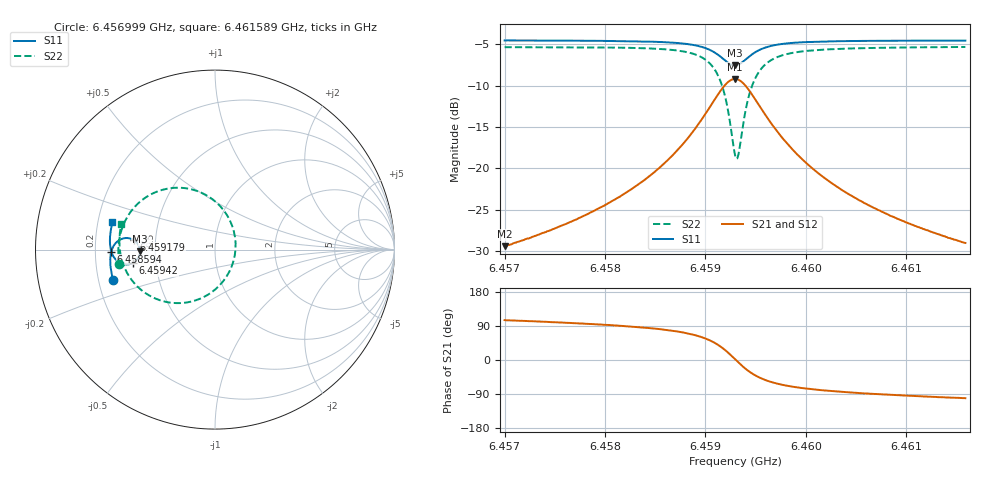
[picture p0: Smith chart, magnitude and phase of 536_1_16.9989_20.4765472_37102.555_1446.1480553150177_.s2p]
#  HZ  S  RI  R  50.00
! Rohde & Schwarz Vector Network Analyzer
! Rohde-Schwarz,ZNB20-2Port,1311601062101988,3.16
! Created: UTC 3/20/2024, 11:16:06 PM
! freq[Hz]  re:S11  im:S11  re:S21  im:S21  re:S12  im:S12  re:S22  im:S22
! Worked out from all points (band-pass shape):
!   401 points, 6.456999 GHz to 6.461589 GHz, reference 50 ohm
!   highest |S21| = -9.20 dB at 6.459294 GHz (marker M1); lowest = -29.4 dB at 6.456999 GHz (marker M2)
!   |S21| within 3 dB of the highest: 6.459065 GHz to 6.459524 GHz (459 kHz wide, 0.00711 % of centre)
!   lowest |S11| = -7.6 dB at 6.459294 GHz (marker M3), VSWR 2.44, Z = 20.5 - j0.464 ohm
!   |S11| at or under -10 dB: nowhere
!   |S22| runs from -18.8 to -5.3 dB; largest |S21 - S12| = 0.014
!   S11 on the Smith chart (normalised r, x): 6.456999 GHz: 0.26, -0.14; 6.458594 GHz: 0.27, -0.01; 6.459179 GHz: 0.37, +0.05; 6.45942 GHz: 0.37, -0.07; 6.461589 GHz: 0.26, +0.12
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6.4569989e9  -0.5671 -0.1706  -0.00887 0.0326  -0.00704 0.0326  -0.5331 -0.0829
6.4577678e9  -0.581 -0.1033  -0.00546 0.0506  -0.00288 0.0499  -0.5382 0.00716
6.4581694e9  -0.5838 -0.0631  -9.92e-05 0.0687  0.00328 0.0673  -0.5307 0.0704
6.4585366e9  -0.5797 -0.0194  0.0144 0.0989  0.0185 0.0962  -0.5042 0.1526
6.458594e9  -0.578 -0.0116  0.0189 0.1058  0.023 0.1027  -0.4958 0.1692
6.4588006e9  -0.5649 0.0204  0.0464 0.1383  0.0506 0.1334  -0.4439 0.2419
6.4589498e9  -0.5421 0.0468  0.092 0.1688  0.0952 0.162  -0.3599 0.3063
6.4590875e9  -0.4982 0.0643  0.1793 0.1851  0.1803 0.1778  -0.2 0.3447
6.4591793e9  -0.4537 0.0539  0.2695 0.1536  0.2697 0.1479  -0.0329 0.2937
6.4592481e9  -0.4246 0.0217  0.3299 0.0814  0.3322 0.0763  0.0827 0.1635
6.459294e9  -0.4178 -0.00934  0.3463 0.0133  0.3499 0.00641  0.1147 0.0357
6.4593055e9  -0.4181 -0.0174  0.3461 -0.00448  0.35 -0.0121  0.1142 0.00206
6.4593285e9  -0.4216 -0.033  0.3404 -0.0394  0.3443 -0.0484  0.1029 -0.0639
6.4593744e9  -0.4374 -0.0591  0.3117 -0.0993  0.3138 -0.1112  0.0446 -0.1775
6.4594203e9  -0.4594 -0.0755  0.2694 -0.1404  0.2686 -0.1536  -0.0411 -0.2524
6.4595121e9  -0.5029 -0.0822  0.1842 -0.1714  0.1781 -0.183  -0.2108 -0.2982
6.4596613e9  -0.5468 -0.0617  0.0961 -0.1573  0.0877 -0.1635  -0.3788 -0.248
6.4598219e9  -0.5683 -0.034  0.0513 -0.1292  0.0436 -0.1319  -0.4594 -0.1754
6.4600629e9  -0.581 0.0016  0.0221 -0.0975  0.0163 -0.098  -0.5072 -0.0926
6.4604072e9  -0.5855 0.0425  0.0061 -0.0706  0.0021 -0.0701  -0.5286 -0.0131
6.4608318e9  -0.5835 0.0852  -0.00148 -0.0519  -0.00439 -0.051  -0.5327 0.0548
6.4615892e9  -0.5713 0.1523  -0.00662 -0.0347  -0.00828 -0.0337  -0.5212 0.1447
